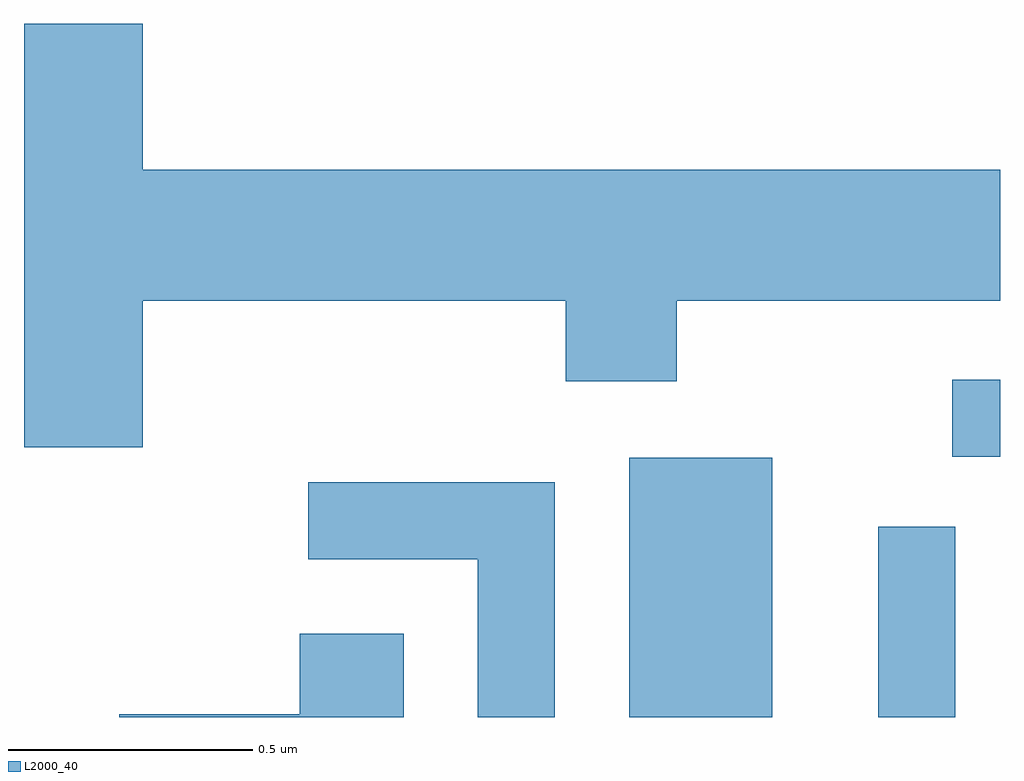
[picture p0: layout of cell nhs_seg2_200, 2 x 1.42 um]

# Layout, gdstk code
import gdstk
lib = gdstk.Library(unit=1e-6, precision=1e-09)
def R(c, l, rs):  # rectangles x0, y0, x1, y1
    for r in rs: c.add(gdstk.rectangle(r[:2], r[2:], *l))
def P(c, l, *ps):  # polygons
    for p in ps: c.add(gdstk.Polygon(p, *l))
L2000_40 = (2000, 40)

nhs_seg2_200 = lib.new_cell('nhs_seg2_200')
R(nhs_seg2_200, L2000_40, [(187.851,1040.802,188.144,1041.334), (188.361,1040.802,188.519,1041.193), (188.513,1041.336,188.611,1041.494)])
P(nhs_seg2_200, L2000_40, [(186.854,1041.656),(187.721,1041.656),(187.721,1041.491),(187.949,1041.491),(187.949,1041.656),(188.611,1041.656),(188.611,1041.924),(186.854,1041.924),(186.854,1042.224),(186.611,1042.224),(186.611,1041.356),(186.854,1041.356)],
  [(187.699,1041.284),(187.193,1041.284),(187.193,1041.126),(187.541,1041.126),(187.541,1040.802),(187.699,1040.802)],
  [(187.389,1040.974),(187.176,1040.974),(187.176,1040.809),(186.806,1040.809),(186.806,1040.802),(187.389,1040.802)])

lib.write_gds('nhs_seg2_200.gds')
